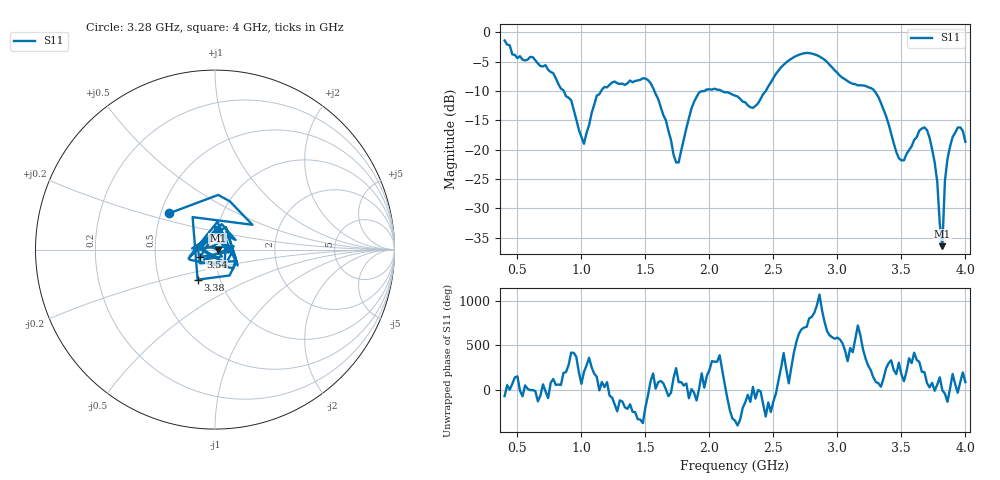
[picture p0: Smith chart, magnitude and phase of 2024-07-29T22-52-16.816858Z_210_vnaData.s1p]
!Created with skrf (http://scikit-rf.org).
# Hz S RI R 50.0
!freq ReS11 ImS11
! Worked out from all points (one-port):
!   181 points, 400 MHz to 4 GHz, reference 50 ohm
!   lowest |S11| = -36.4 dB at 3.82 GHz (marker M1), VSWR 1.03, Z = 51.5 - j0.2 ohm
!   |S11| at or under -10 dB: 1.57 GHz to 1.961 GHz (391.2 MHz wide, 22.2 % of centre); 2.096 GHz to 2.44 GHz (344.2 MHz wide, 15.2 % of centre); 3.289 GHz to end of sweep (the widest 3 of 4)
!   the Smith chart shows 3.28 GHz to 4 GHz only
!   S11 on the Smith chart (normalised r, x): 3.28 GHz: 0.55, +0.25; 3.38 GHz: 0.78, -0.27; 3.54 GHz: 0.85, -0.07; 4 GHz: 0.99, +0.23
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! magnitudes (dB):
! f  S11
! 400 MHz  -1.4
! 720 MHz  -5.6
! 860 MHz  -9.9
! 920 MHz  -11.6
! 1.02 GHz  -19.0
! 1.12 GHz  -10.8
! 1.3 GHz  -8.8
! 1.54 GHz  -8.6
! 1.76 GHz  -22.2
! 1.86 GHz  -13.0
! 1.92 GHz  -10.2
! 2.2 GHz  -10.8
! 2.34 GHz  -12.9
! 2.66 GHz  -4.2
! 2.84 GHz  -3.9
! 3.1 GHz  -8.6
! 3.28 GHz  -9.7
! 3.38 GHz  -14.3
! 3.48 GHz  -21.4
! 3.54 GHz  -20.7
! 3.56 GHz  -20.1
! 3.7 GHz  -16.7
! 3.76 GHz  -22.2
! 3.82 GHz  -36.4
! 3.84 GHz  -25.4
! 3.88 GHz  -19.5
! 3.94 GHz  -16.2
! 4 GHz  -18.7
